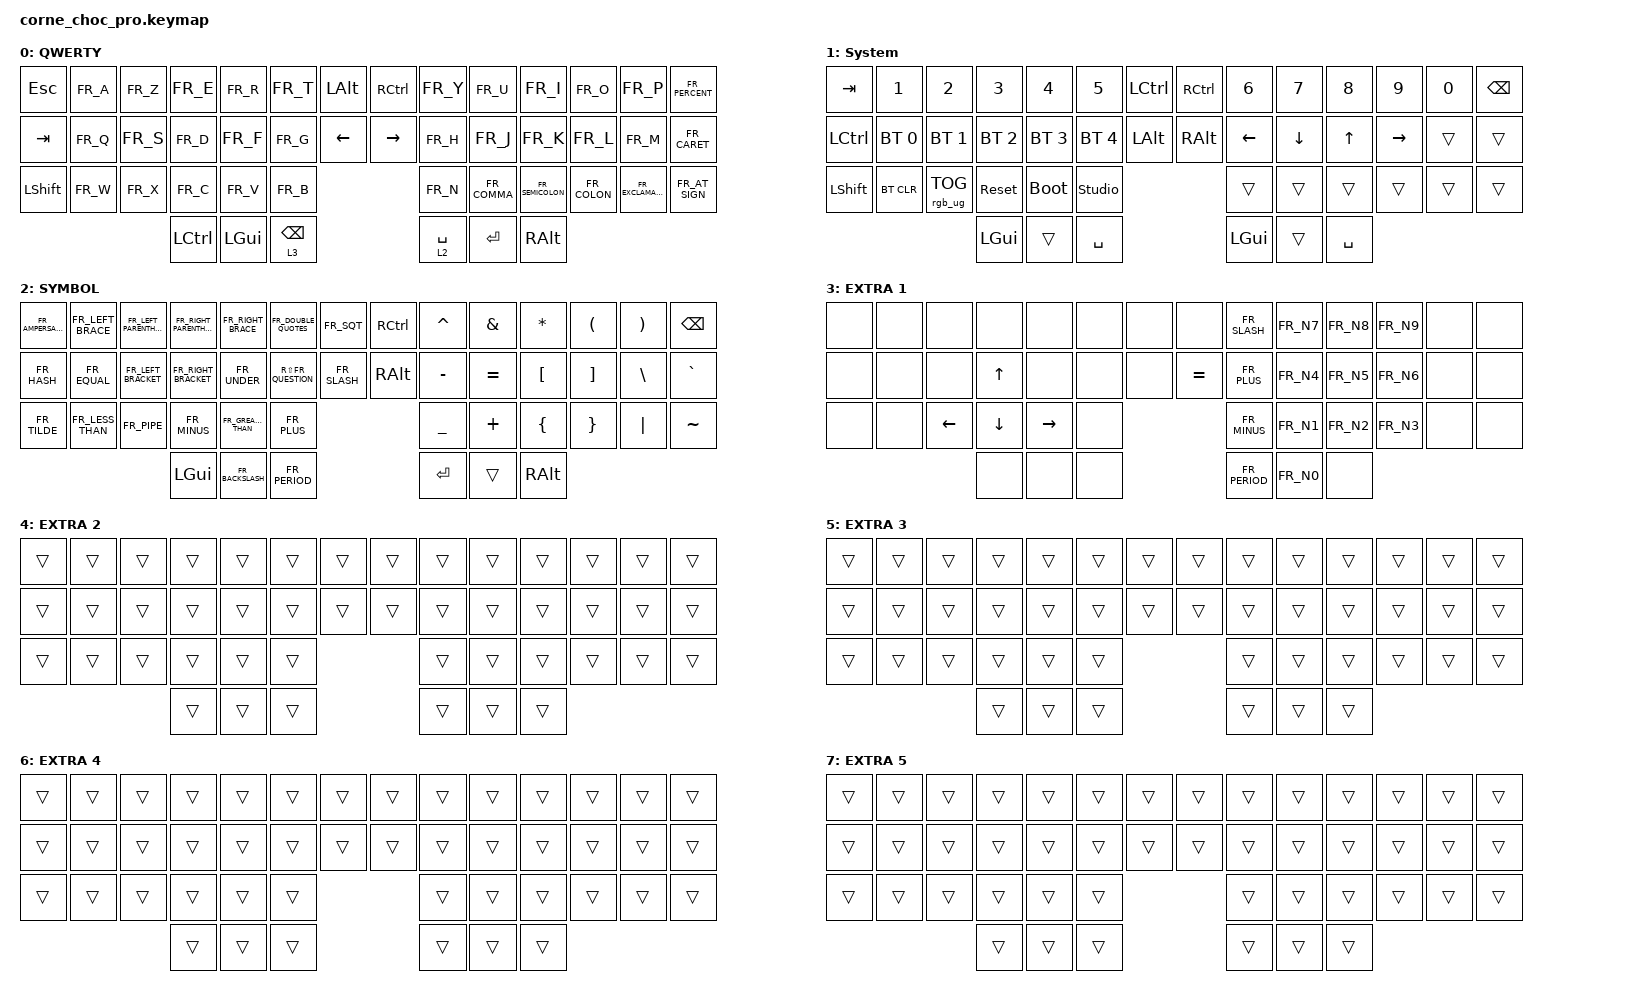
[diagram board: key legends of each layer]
/*
 * Copyright (c) 2020 The ZMK Contributors
 *
 * SPDX-License-Identifier: MIT
 */

#include "keys_fr.h"
#include <behaviors.dtsi>
#include <dt-bindings/zmk/bt.h>
#include <dt-bindings/zmk/keys.h>
#include <dt-bindings/zmk/rgb.h>

/ {
    chosen { zmk,physical-layout = &default_layout; };
};

/ {
    combos {
        compatible = "zmk,combos";

        System {
            bindings = <&to 1>;
            key-positions = <0 5>;
        };

        Parenthesis {
            bindings = <&kp FR_LEFT_PARENTHESIS>;
            key-positions = <18 19>;
            layers = <0>;
        };

        Brackets {
            bindings = <&kp FR_LEFT_BRACKET>;
            key-positions = <4 5>;
        };

        Brace {
            bindings = <&kp FR_LEFT_BRACE>;
            key-positions = <32 33>;
        };

        point {
            bindings = <&kp FR_PERIOD>;
            key-positions = <22 23>;
        };

        e_accent_aigue {
            bindings = <&kp FR_E_ACUTE>;
            key-positions = <2 3>;
        };

        e_accent_grave {
            bindings = <&kp FR_E_GRAVE>;
            key-positions = <3 4>;
        };

        a_accent {
            bindings = <&kp FR_A_GRAVE>;
            key-positions = <1 2>;
        };

        u_accent {
            bindings = <&kp FR_U_GRAVE>;
            key-positions = <9 10>;
        };

        c_cedillla {
            bindings = <&kp FR_C_CEDILLA>;
            key-positions = <31 32>;
        };

        to_default {
            bindings = <&to 0>;
            key-positions = <14 19>;
        };
    };

    keymap {
        compatible = "zmk,keymap";

        default_layer {
            display-name = "QWERTY";

            // --------------------------------------------------------------------------------
            // |  TAB |  Q  |  W  |  E  |  R  |  T  |  MUTE |  PP   |  Y  |  U   |  I  |  O  |  P  | BSPC |
            // | CTRL |  A  |  S  |  D  |  F  |  G  |  LALT |  RALT |  H  |  J   |  K  |  L  |  ;  |  '   |
            // | SHFT |  Z  |  X  |  C  |  V  |  B  |               |  N  |  M   |  ,  |  .  |  /  | ESC  |
            //                    | GUI | LWR | SPC |               | ENT | RSE  | ALT |

            bindings = <
&kp ESCAPE  &kp FR_A  &kp FR_Z  &kp FR_E   &kp FR_R      &kp FR_T         &kp LEFT_ALT    &kp RIGHT_CONTROL  &kp FR_Y     &kp FR_U      &kp FR_I          &kp FR_O      &kp FR_P            &kp FR_PERCENT
&kp TAB     &kp FR_Q  &kp FR_S  &kp FR_D   &kp FR_F      &kp FR_G         &kp LEFT_ARROW  &kp RIGHT_ARROW    &kp FR_H     &kp FR_J      &kp FR_K          &kp FR_L      &kp FR_M            &kp FR_CARET
&kp LSHFT   &kp FR_W  &kp FR_X  &kp FR_C   &kp FR_V      &kp FR_B                                            &kp FR_N     &kp FR_COMMA  &kp FR_SEMICOLON  &kp FR_COLON  &kp FR_EXCLAMATION  &kp FR_AT_SIGN
                                &kp LCTRL  &kp LEFT_GUI  &lt 3 BACKSPACE                                     &lt 2 SPACE  &kp ENTER     &kp RALT
            >;
        };

        System {
            display-name = "System";

            // -----------------------------------------------------------------------------------------
            // |  TAB |  1  |  2  |  3  |  4  |  5    |  LCTRL | RCTRL |  6  |  7  |  8  |  9  |  0  | BSPC |
            // | CTRL | BT1 | BT2 | BT3 | BT4 | BT5   |  LALT  | RALT  | LFT | DWN |  UP | RGT |     |      |
            // | SHFT | BTCR| RGB | RST | BOOT| Unlock|        |       |     |     |     |     |     |      |
            //                    | GUI |     | SPC   |        | ENT   |     | ALT |

            bindings = <
&kp TAB    &kp N1        &kp N2           &kp N3        &kp N4        &kp N5          &kp LCTRL  &kp RCTRL  &kp N6    &kp N7    &kp N8     &kp N9     &kp N0  &kp BSPC
&kp LCTRL  &bt BT_SEL 0  &bt BT_SEL 1     &bt BT_SEL 2  &bt BT_SEL 3  &bt BT_SEL 4    &kp LALT   &kp RALT   &kp LEFT  &kp DOWN  &kp UP     &kp RIGHT  &trans  &trans
&kp LSHFT  &bt BT_CLR    &rgb_ug RGB_TOG  &sys_reset    &bootloader   &studio_unlock                        &trans    &trans    &trans     &trans     &trans  &trans
                                          &kp LGUI      &trans        &kp SPACE                             &kp LGUI  &trans    &kp SPACE
            >;
        };

        Symbols {
            display-name = "SYMBOL";

            // -----------------------------------------------------------------------------------------
            // |  TAB |  !  |  @  |  #  |  $  |  %  | LCTRL | RCTRL |  ^  |  &  |  *  |  (  |  )  | BSPC |
            // | CTRL |     |     |     |     |     |  LALT | RALT  |  -  |  =  |  [  |  ]  |  \  |  `   |
            // | SHFT |     |     |     |     |     |               |  _  |  +  |  {  |  }  | "|" |  ~   |
            //                    | GUI |     | SPC |               | ENT |     | ALT |

            bindings = <
&kp FR_AMPERSAND  &kp FR_LEFT_BRACE  &kp FR_LEFT_PARENTHESIS  &kp FR_RIGHT_PARENTHESIS  &kp FR_RIGHT_BRACE   &kp FR_DOUBLE_QUOTES  &kp FR_SQT    &kp RCTRL  &kp CARET  &kp AMPS   &kp ASTRK  &kp LPAR  &kp RPAR  &kp BSPC
&kp FR_HASH       &kp FR_EQUAL       &kp FR_LEFT_BRACKET      &kp FR_RIGHT_BRACKET      &kp FR_UNDER         &kp RS(FR_QUESTION)   &kp FR_SLASH  &kp RALT   &kp MINUS  &kp EQUAL  &kp LBKT   &kp RBKT  &kp BSLH  &kp GRAVE
&kp FR_TILDE      &kp FR_LESS_THAN   &kp FR_PIPE              &kp FR_MINUS              &kp FR_GREATER_THAN  &kp FR_PLUS                                    &kp UNDER  &kp PLUS   &kp LBRC   &kp RBRC  &kp PIPE  &kp TILDE
                                                              &kp LGUI                  &kp FR_BACKSLASH     &kp FR_PERIOD                                  &kp RET    &trans     &kp RALT
            >;
        };

        Numbers {
            display-name = "EXTRA 1";
            bindings = <
&none  &none  &none           &none           &none            &none  &none  &none      &kp FR_SLASH   &kp FR_N7  &kp FR_N8  &kp FR_N9  &none  &none
&none  &none  &none           &kp UP_ARROW    &none            &none  &none  &kp EQUAL  &kp FR_PLUS    &kp FR_N4  &kp FR_N5  &kp FR_N6  &none  &none
&none  &none  &kp LEFT_ARROW  &kp DOWN_ARROW  &kp RIGHT_ARROW  &none                    &kp FR_MINUS   &kp FR_N1  &kp FR_N2  &kp FR_N3  &none  &none
                              &none           &none            &none                    &kp FR_PERIOD  &kp FR_N0  &none
            >;
        };

        extra_layer_2 {
            display-name = "EXTRA 2";
            bindings = <
&trans  &trans  &trans  &trans  &trans  &trans  &trans  &trans  &trans  &trans  &trans  &trans  &trans  &trans
&trans  &trans  &trans  &trans  &trans  &trans  &trans  &trans  &trans  &trans  &trans  &trans  &trans  &trans
&trans  &trans  &trans  &trans  &trans  &trans                  &trans  &trans  &trans  &trans  &trans  &trans
                        &trans  &trans  &trans                  &trans  &trans  &trans
            >;
        };

        extra_layer_3 {
            display-name = "EXTRA 3";
            bindings = <
&trans  &trans  &trans  &trans  &trans  &trans  &trans  &trans  &trans  &trans  &trans  &trans  &trans  &trans
&trans  &trans  &trans  &trans  &trans  &trans  &trans  &trans  &trans  &trans  &trans  &trans  &trans  &trans
&trans  &trans  &trans  &trans  &trans  &trans                  &trans  &trans  &trans  &trans  &trans  &trans
                        &trans  &trans  &trans                  &trans  &trans  &trans
            >;
        };

        extra_layer_4 {
            display-name = "EXTRA 4";
            bindings = <
&trans  &trans  &trans  &trans  &trans  &trans  &trans  &trans  &trans  &trans  &trans  &trans  &trans  &trans
&trans  &trans  &trans  &trans  &trans  &trans  &trans  &trans  &trans  &trans  &trans  &trans  &trans  &trans
&trans  &trans  &trans  &trans  &trans  &trans                  &trans  &trans  &trans  &trans  &trans  &trans
                        &trans  &trans  &trans                  &trans  &trans  &trans
            >;
        };

        extra_layer_5 {
            display-name = "EXTRA 5";
            bindings = <
&trans  &trans  &trans  &trans  &trans  &trans  &trans  &trans  &trans  &trans  &trans  &trans  &trans  &trans
&trans  &trans  &trans  &trans  &trans  &trans  &trans  &trans  &trans  &trans  &trans  &trans  &trans  &trans
&trans  &trans  &trans  &trans  &trans  &trans                  &trans  &trans  &trans  &trans  &trans  &trans
                        &trans  &trans  &trans                  &trans  &trans  &trans
            >;
        };
    };
};
